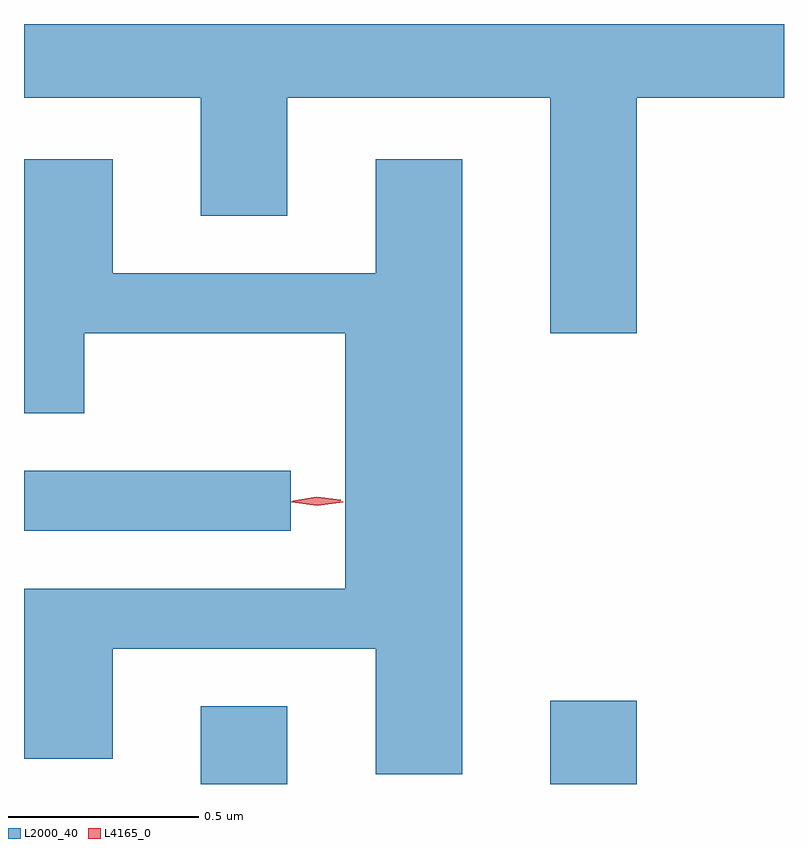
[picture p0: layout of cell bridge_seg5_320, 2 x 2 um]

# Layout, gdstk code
import gdstk
lib = gdstk.Library(unit=1e-6, precision=1e-09)
def R(c, l, rs):  # rectangles x0, y0, x1, y1
    for r in rs: c.add(gdstk.rectangle(r[:2], r[2:], *l))
def P(c, l, *ps):  # polygons
    for p in ps: c.add(gdstk.Polygon(p, *l))
L2000_40 = (2000, 40)
L4165_0 = (4165, 0)

bridge_seg5_320 = lib.new_cell('bridge_seg5_320')
R(bridge_seg5_320, L2000_40, [(763.771,1486.07,763.999,1486.274), (764.691,1486.07,764.919,1486.289), (763.306,1486.736,764.008,1486.894)])
P(bridge_seg5_320, L2000_40, [(764.919,1487.876),(765.306,1487.876),(765.306,1488.07),(763.306,1488.07),(763.306,1487.876),(763.771,1487.876),(763.771,1487.566),(763.999,1487.566),(763.999,1487.876),(764.691,1487.876),(764.691,1487.256),(764.919,1487.256)],
  [(764.459,1487.714),(764.231,1487.714),(764.231,1487.414),(763.539,1487.414),(763.539,1487.714),(763.306,1487.714),(763.306,1487.046),(763.464,1487.046),(763.464,1487.256),(764.151,1487.256),(764.151,1486.584),(763.306,1486.584),(763.306,1486.136),(763.539,1486.136),(763.539,1486.426),(764.231,1486.426),(764.231,1486.096),(764.459,1486.096)])
P(bridge_seg5_320, L4165_0, [(764.078,1486.802),(764.01,1486.812),(764.009,1486.813),(764.01,1486.813),(764.078,1486.822),(764.146,1486.813),(764.146,1486.812),(764.146,1486.812)],
  [(764.076,1486.806),(764.013,1486.814),(764.013,1486.815),(764.013,1486.815),(764.076,1486.826),(764.139,1486.818),(764.14,1486.817),(764.139,1486.816)])

lib.write_gds('bridge_seg5_320.gds')
